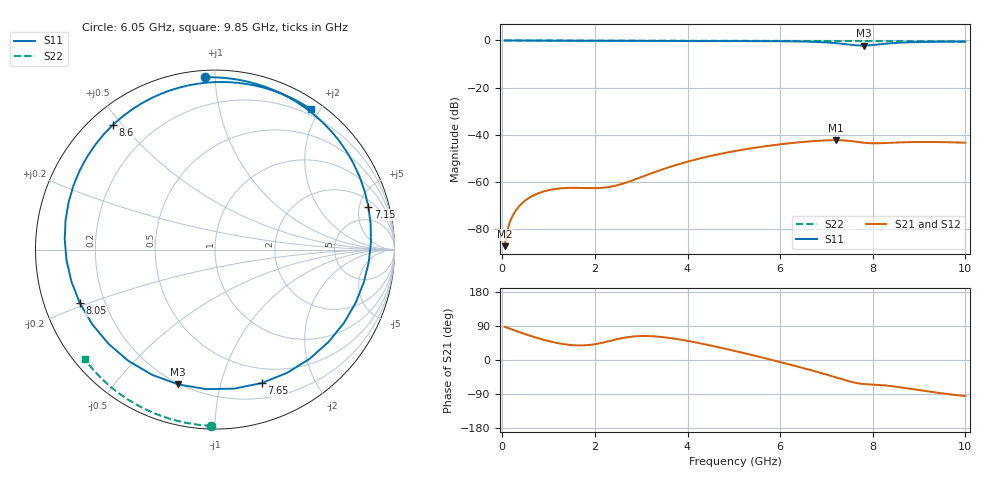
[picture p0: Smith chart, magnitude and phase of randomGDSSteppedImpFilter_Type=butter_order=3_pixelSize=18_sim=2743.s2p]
! freq	dB(S11)	phase(S11)	dB(S12)	phase(S12)
!  dB(S21)	phase(S21)	dB(S22)	phase(S22)
!S-par simulation data
#  GHz  S  DB  R 50
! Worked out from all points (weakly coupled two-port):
!   200 points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, 50 MHz to 10 GHz, reference 50 ohm
!   highest |S21| = -42.26 dB at 7.2 GHz (marker M1); lowest = -87.2 dB at 50 MHz (marker M2)
!   lowest |S11| = -2.2 dB at 7.8 GHz (marker M3), VSWR 8.03, Z = 9.77 - j37.3 ohm
!   |S11| at or under -10 dB: nowhere
!   |S22| runs from -0.5 to 0.0 dB; largest |S21 - S12| = 0
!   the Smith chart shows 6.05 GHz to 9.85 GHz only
!   S11 on the Smith chart (normalised r, x): 6.05 GHz: 0.04, +0.94; 7.15 GHz: 2.73, +6.12; 7.65 GHz: 0.34, -1.35; 8.05 GHz: 0.11, -0.19; 8.6 GHz: 0.07, +0.47; 9.85 GHz: 0.12, +1.89
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0.05  -0.00 -3.8  -87.16 87.7  -87.16 87.7  -0.00 -0.8
0.35  -0.03 -25.8  -70.55 74.4  -70.55 74.4  -0.01 -5.7
0.65  -0.06 -46.9  -65.89 62.0  -65.89 62.0  -0.01 -10.6
1.15  -0.09 -78.7  -62.91 45.7  -62.91 45.7  -0.02 -18.6
1.75  -0.11 -110.7  -62.50 38.6  -62.50 38.6  -0.04 -28.2
2.55  -0.12 -144.9  -60.99 56.8  -60.99 56.8  -0.05 -40.7
3.4  -0.14 -175.0  -55.02 61.2  -55.02 61.2  -0.07 -53.6
4.2  -0.17 159.3  -50.33 45.8  -50.33 45.8  -0.09 -65.3
5.05  -0.22 131.7  -46.76 23.1  -46.76 23.1  -0.12 -77.4
6.05  -0.34 93.4  -43.89 -6.9  -43.89 -6.9  -0.16 -91.1
6.7  -0.58 57.0  -42.66 -28.1  -42.66 -28.1  -0.19 -99.8
7.15  -1.04 15.6  -42.26 -44.0  -42.26 -44.0  -0.22 -105.7
7.2  -1.12 9.3  -42.26 -45.9  -42.26 -45.9  -0.22 -106.3
7.45  -1.65 -29.5  -42.46 -54.9  -42.46 -54.9  -0.24 -109.5
7.65  -2.07 -70.7  -42.92 -60.8  -42.92 -60.8  -0.25 -112.1
7.8  -2.17 -105.2  -43.31 -63.3  -43.31 -63.3  -0.26 -114.0
8.05  -1.83 -158.4  -43.59 -65.0  -43.59 -65.0  -0.28 -117.2
8.35  -1.25 155.6  -43.38 -68.1  -43.38 -68.1  -0.31 -121.0
8.6  -0.93 129.2  -43.18 -72.2  -43.18 -72.2  -0.33 -124.2
9.1  -0.62 93.0  -43.01 -81.3  -43.01 -81.3  -0.38 -130.5
9.85  -0.47 55.7  -43.23 -93.2  -43.23 -93.2  -0.46 -140.0
10  -0.46 49.3  -43.33 -95.3  -43.33 -95.3  -0.48 -141.9
